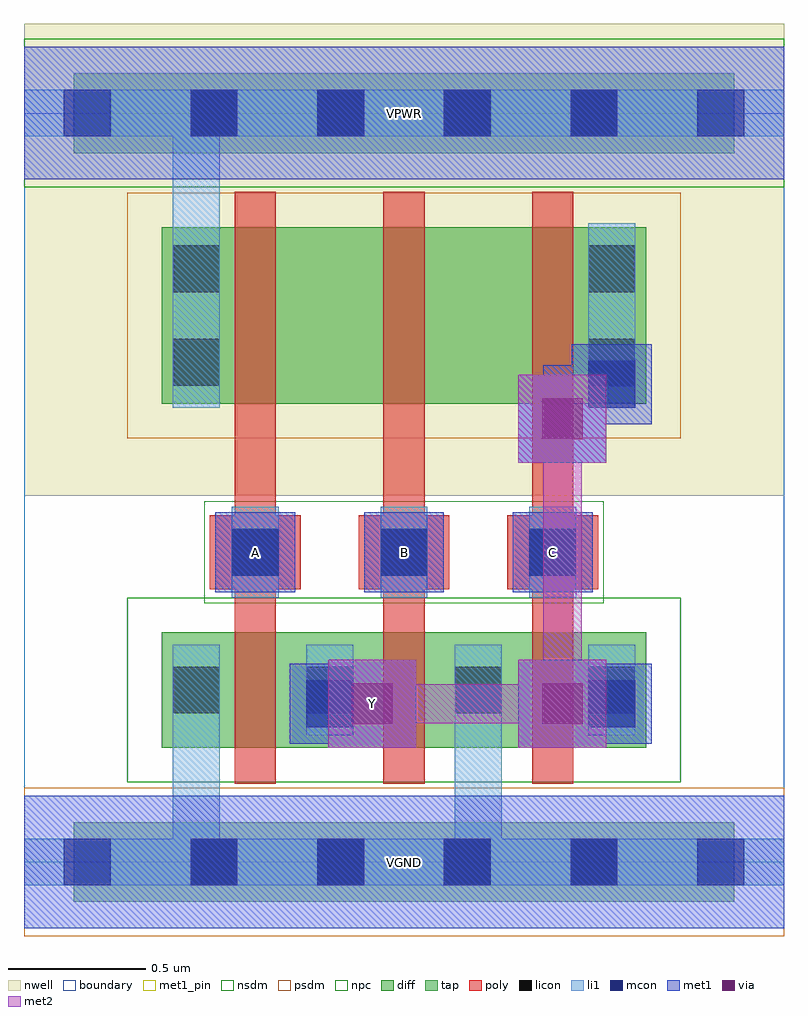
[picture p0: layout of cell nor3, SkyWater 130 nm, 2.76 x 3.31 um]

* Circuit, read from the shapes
.subckt nor3 A B C VGND VPWR Y
XM1 Y A VGND VGND sky130_fd_pr__nfet_01v8 w=0.42 l=0.15
XM2 VGND B Y VGND sky130_fd_pr__nfet_01v8 w=0.42 l=0.15
XM3 Y C VGND VGND sky130_fd_pr__nfet_01v8 w=0.42 l=0.15
XM4 n1 A VPWR VPWR sky130_fd_pr__pfet_01v8 w=0.64 l=0.15
XM5 n2 B n1 VPWR sky130_fd_pr__pfet_01v8 w=0.64 l=0.15
XM6 Y C n2 VPWR sky130_fd_pr__pfet_01v8 w=0.64 l=0.15
.ends

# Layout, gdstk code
import gdstk
lib = gdstk.Library(unit=1e-6, precision=1e-09)
def R(c, l, rs):  # rectangles x0, y0, x1, y1
    for r in rs: c.add(gdstk.rectangle(r[:2], r[2:], *l))
def A(c, l, x, y, w, h, nx, ny, dx, dy):  # array of equal rectangles
    R(c, l, [(x+i*dx, y+j*dy, x+i*dx+w, y+j*dy+h) for i in range(nx) for j in range(ny)])
nwell = (64, 20)
diff = (65, 20)
tap = (65, 44)
poly = (66, 20)
licon = (66, 44)
li1 = (67, 20)
mcon = (67, 44)
met1_pin = (68, 16)
met1 = (68, 20)
via = (68, 44)
met2 = (69, 20)
nsdm = (93, 44)
psdm = (94, 20)
npc = (95, 20)
boundary = (235, 4)

nor3 = lib.new_cell('nor3')
R(nor3, nwell, [(0,1.33,2.76,3.045)])
R(nor3, diff, [(0.5,0.415,2.26,0.835), (0.5,1.665,2.26,2.305)])
R(nor3, tap, [(0.18,-0.145,2.58,0.145), (0.18,2.575,2.58,2.865)])
A(nor3, poly, 0.765, 0.285, 0.15, 2.15, 3, 1, 0.54, 0)
A(nor3, poly, 0.675, 0.99, 0.33, 0.27, 3, 1, 0.54, 0)
A(nor3, licon, 0.605, -0.085, 0.17, 0.17, 4, 2, 0.46, 2.72)
A(nor3, licon, 0.755, 1.04, 0.17, 0.17, 3, 1, 0.54, 0)
R(nor3, licon, [(0.54,0.54,0.71,0.71), (1.025,0.54,1.195,0.71), (1.565,0.54,1.735,0.71), (2.05,0.54,2.22,0.71), (0.54,1.73,0.71,1.9), (2.05,1.73,2.22,1.9), (0.54,2.07,0.71,2.24), (2.05,2.07,2.22,2.24)])
A(nor3, li1, 0.755, 0.96, 0.17, 0.33, 3, 1, 0.54, 0)
R(nor3, li1, [(0,-0.085,2.76,0.085), (0.54,-0.085,0.71,0.79), (1.565,-0.085,1.735,0.79), (0.54,0.46,0.71,0.79), (1.025,0.46,1.195,0.79), (1.565,0.46,1.735,0.79), (2.05,0.46,2.22,0.79), (0.54,1.65,0.71,2.32), (0.54,1.65,0.71,2.805), (2.05,1.65,2.22,2.32), (0,2.635,2.76,2.805)])
A(nor3, mcon, 0.145, -0.085, 0.17, 0.17, 6, 2, 0.46, 2.72)
A(nor3, mcon, 0.755, 1.04, 0.17, 0.17, 3, 1, 0.54, 0)
R(nor3, mcon, [(1.025,0.49,1.195,0.66), (2.05,0.49,2.22,0.66), (2.05,1.65,2.22,1.82)])
A(nor3, met1_pin, 0.695, 0.98, 0.29, 0.29, 3, 1, 0.54, 0)
R(nor3, met1_pin, [(0,-0.24,2.76,0.24), (1.105,0.415,1.425,0.735), (0,2.48,2.76,2.96)])
A(nor3, met1, 0.695, 0.98, 0.29, 0.29, 3, 1, 0.54, 0)
R(nor3, met1, [(0,-0.24,2.76,0.24), (1.105,0.415,1.425,0.735), (1.795,0.415,2.115,0.735), (0.965,0.43,1.255,0.72), (1.99,0.43,2.28,0.72), (1.04,0.505,1.335,0.645), (1.885,0.505,2.205,0.645), (1.795,1.45,2.115,1.77), (1.885,1.54,2.025,1.805), (1.99,1.59,2.28,1.88), (1.885,1.665,2.205,1.805), (0,2.48,2.76,2.96)])
R(nor3, via, [(1.19,0.5,1.34,0.65), (1.88,0.5,2.03,0.65), (1.88,1.535,2.03,1.685)])
R(nor3, met2, [(1.105,0.415,1.425,0.735), (1.795,0.415,2.115,0.735), (1.195,0.505,2.025,0.645), (1.885,0.505,2.025,1.68), (1.795,1.45,2.115,1.77)])
R(nor3, nsdm, [(0.375,0.29,2.385,0.96), (0,2.45,2.76,2.99)])
R(nor3, psdm, [(0,-0.27,2.76,0.27), (0.375,1.54,2.385,2.43)])
R(nor3, npc, [(0.655,0.94,2.105,1.31)])
R(nor3, boundary, [(0,0,2.76,2.72)])
nor3.add(gdstk.Label('A', (0.84,1.125), layer=68, texttype=5))
nor3.add(gdstk.Label('B', (1.38,1.125), layer=68, texttype=5))
nor3.add(gdstk.Label('C', (1.92,1.125), layer=68, texttype=5))
nor3.add(gdstk.Label('Y', (1.265,0.575), layer=68, texttype=5))
nor3.add(gdstk.Label('VPWR', (1.38,2.72), layer=68, texttype=5))
nor3.add(gdstk.Label('VGND', (1.38,0), layer=68, texttype=5))
nor3.add(gdstk.Label('A', (0.84,1.125), layer=68, texttype=16))
nor3.add(gdstk.Label('B', (1.38,1.125), layer=68, texttype=16))
nor3.add(gdstk.Label('C', (1.92,1.125), layer=68, texttype=16))
nor3.add(gdstk.Label('Y', (1.265,0.575), layer=68, texttype=16))
nor3.add(gdstk.Label('VPWR', (1.38,2.72), layer=68, texttype=16))
nor3.add(gdstk.Label('VGND', (1.38,0), layer=68, texttype=16))

lib.write_gds('nor3.gds')
